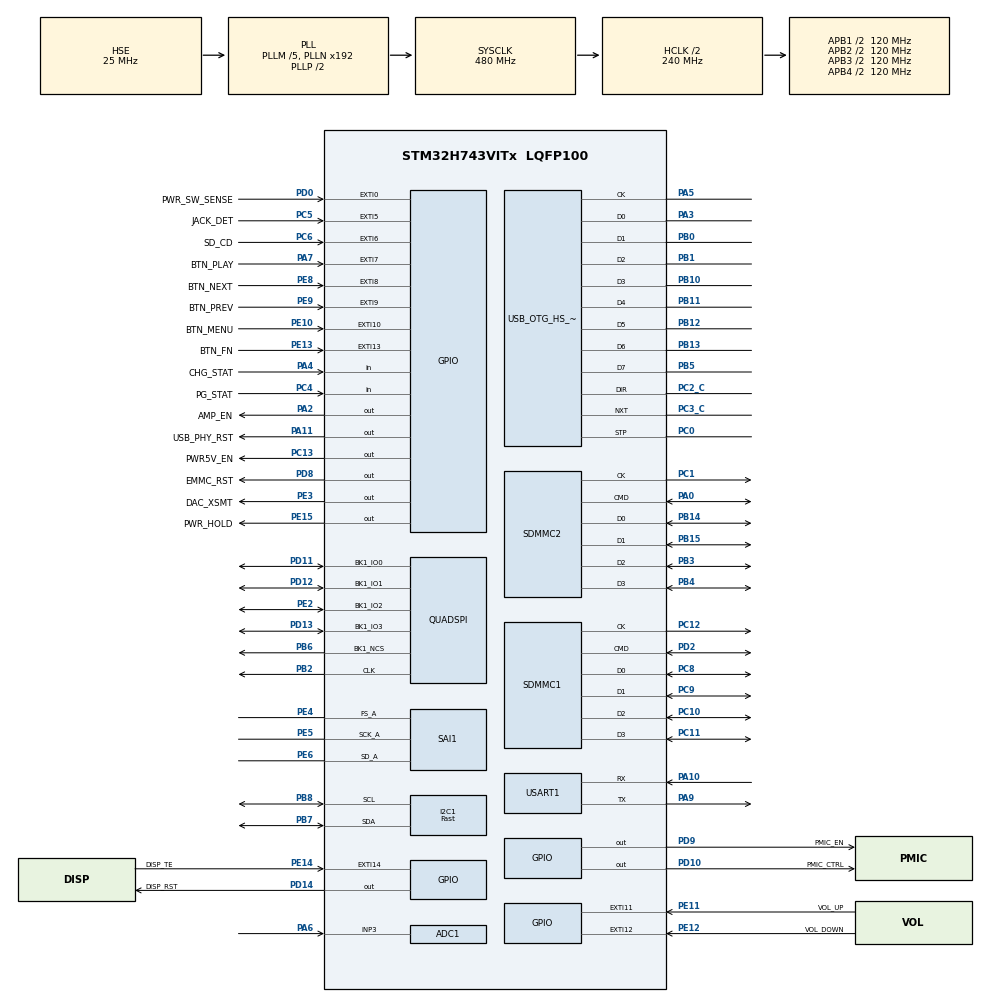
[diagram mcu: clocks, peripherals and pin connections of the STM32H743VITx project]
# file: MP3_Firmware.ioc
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ADC1.Channel-0\#ChannelRegularConversion=ADC_CHANNEL_3
ADC1.NbrOfConversionFlag=1
ADC1.OffsetNumber-0\#ChannelRegularConversion=ADC_OFFSET_NONE
ADC1.OffsetSignedSaturation-0\#ChannelRegularConversion=DISABLE
ADC1.Rank-0\#ChannelRegularConversion=1
ADC1.SamplingTime-0\#ChannelRegularConversion=ADC_SAMPLETIME_1CYCLE_5
ADC1.master=1
CORTEX_M7.CPU_DCache=Enabled
CORTEX_M7.CPU_ICache=Enabled
CORTEX_M7.default_mode_Activation=1
Dma.Request0=SAI1_A
Dma.SAI1_A.0.Direction=DMA_MEMORY_TO_PERIPH
Dma.SAI1_A.0.EventEnable=DISABLE
Dma.SAI1_A.0.FIFOMode=DMA_FIFOMODE_DISABLE
Dma.SAI1_A.0.Instance=DMA1_Stream1
Dma.SAI1_A.0.MemDataAlignment=DMA_MDATAALIGN_WORD
Dma.SAI1_A.0.MemInc=DMA_MINC_ENABLE
Dma.SAI1_A.0.Mode=DMA_CIRCULAR
Dma.SAI1_A.0.PeriphDataAlignment=DMA_PDATAALIGN_WORD
Dma.SAI1_A.0.PeriphInc=DMA_PINC_DISABLE
Dma.SAI1_A.0.Polarity=HAL_DMAMUX_REQ_GEN_RISING
Dma.SAI1_A.0.Priority=DMA_PRIORITY_HIGH
Dma.SAI1_A.0.RequestNumber=1
Dma.SAI1_A.0.SignalID=NONE
Dma.SAI1_A.0.SyncEnable=DISABLE
Dma.SAI1_A.0.SyncPolarity=HAL_DMAMUX_SYNC_NO_EVENT
Dma.SAI1_A.0.SyncRequestNumber=1
Dma.SAI1_A.0.SyncSignalID=NONE
FREERTOS.Tasks01=defaultTask,24,128,StartDefaultTask,Default,NULL,Dynamic,NULL,NULL
FREERTOS.configTOTAL_HEAP_SIZE=65536
I2C1.I2C_Speed_Mode=I2C_Fast
I2C1.Timing=0x302027FF
Mcu.Family=STM32H7
Mcu.Name=STM32H743VITx
Mcu.Package=LQFP100
NVIC.DMA1_Stream1_IRQn=true\:5\:0\:false\:false\:true\:true\:false\:true\:true
NVIC.EXTI0_IRQn=true\:5\:0\:false\:false\:true\:true\:true\:true\:true
NVIC.EXTI15_10_IRQn=true\:5\:0\:false\:false\:true\:true\:true\:true\:true
NVIC.EXTI9_5_IRQn=true\:5\:0\:false\:false\:true\:true\:true\:true\:true
NVIC.OTG_HS_IRQn=true\:5\:0\:false\:false\:true\:true\:true\:true\:true
NVIC.PriorityGroup=NVIC_PRIORITYGROUP_4
NVIC.SDMMC1_IRQn=true\:5\:0\:false\:false\:true\:true\:true\:true\:true
NVIC.SDMMC2_IRQn=true\:5\:0\:false\:false\:true\:true\:true\:true\:true
NVIC.TIM6_DAC_IRQn=true\:15\:0\:false\:false\:true\:false\:false\:true\:true
NVIC.TimeBase=TIM6_DAC_IRQn
NVIC.TimeBaseIP=TIM6
PA0.Mode=mmc_4_bits_Wide_bus
PA0.Signal=SDMMC2_CMD
PA10.Mode=Asynchronous
PA10.Signal=USART1_RX
PA11.GPIO_Label=USB_PHY_RST
PA11.Signal=GPIO_Output
PA13\ (JTMS/SWDIO).Mode=Serial_Wire
PA13\ (JTMS/SWDIO).Signal=DEBUG_JTMS-SWDIO
PA14\ (JTCK/SWCLK).Mode=Serial_Wire
PA14\ (JTCK/SWCLK).Signal=DEBUG_JTCK-SWCLK
PA2.GPIO_Label=AMP_EN
PA2.Signal=GPIO_Output
PA3.Mode=Device_HS
PA3.Signal=USB_OTG_HS_ULPI_D0
PA4.GPIO_Label=CHG_STAT
PA4.GPIO_PuPd=GPIO_PULLUP
PA4.Signal=GPIO_Input
PA5.Mode=Device_HS
PA5.Signal=USB_OTG_HS_ULPI_CK
PA6.Signal=ADCx_INP3
PA7.GPIO_Label=BTN_PLAY
PA7.GPIO_ModeDefaultEXTI=GPIO_MODE_IT_FALLING
PA7.GPIO_PuPd=GPIO_PULLUP
PA7.Signal=GPXTI7
PA9.Mode=Asynchronous
PA9.Signal=USART1_TX
PB0.Mode=Device_HS
PB0.Signal=USB_OTG_HS_ULPI_D1
PB1.Mode=Device_HS
PB1.Signal=USB_OTG_HS_ULPI_D2
PB10.Mode=Device_HS
PB10.Signal=USB_OTG_HS_ULPI_D3
PB11.Mode=Device_HS
PB11.Signal=USB_OTG_HS_ULPI_D4
PB12.Mode=Device_HS
PB12.Signal=USB_OTG_HS_ULPI_D5
PB13.Mode=Device_HS
PB13.Signal=USB_OTG_HS_ULPI_D6
PB14.Mode=mmc_4_bits_Wide_bus
PB14.Signal=SDMMC2_D0
PB15.Mode=mmc_4_bits_Wide_bus
PB15.Signal=SDMMC2_D1
PB2.Mode=Single Bank 1
PB2.Signal=QUADSPI_CLK
PB3\ (JTDO/TRACESWO).Mode=mmc_4_bits_Wide_bus
PB3\ (JTDO/TRACESWO).Signal=SDMMC2_D2
PB4\ (NJTRST).Mode=mmc_4_bits_Wide_bus
PB4\ (NJTRST).Signal=SDMMC2_D3
PB5.Mode=Device_HS
PB5.Signal=USB_OTG_HS_ULPI_D7
PB6.Mode=Single Bank 1
PB6.Signal=QUADSPI_BK1_NCS
PB7.Mode=I2C
PB7.Signal=I2C1_SDA
PB8.Mode=I2C
PB8.Signal=I2C1_SCL
PC0.Mode=Device_HS
PC0.Signal=USB_OTG_HS_ULPI_STP
PC1.Mode=mmc_4_bits_Wide_bus
PC1.Signal=SDMMC2_CK
PC10.Mode=SD_4_bits_Wide_bus
PC10.Signal=SDMMC1_D2
PC11.Mode=SD_4_bits_Wide_bus
PC11.Signal=SDMMC1_D3
PC12.Mode=SD_4_bits_Wide_bus
PC12.Signal=SDMMC1_CK
PC13.GPIO_Label=PWR5V_EN
PC13.Signal=GPIO_Output
PC14-OSC32_IN\ (OSC32_IN).Mode=LSE-External-Oscillator
PC14-OSC32_IN\ (OSC32_IN).Signal=RCC_OSC32_IN
PC15-OSC32_OUT\ (OSC32_OUT).Mode=LSE-External-Oscillator
PC15-OSC32_OUT\ (OSC32_OUT).Signal=RCC_OSC32_OUT
PC2_C.Mode=Device_HS
PC2_C.Signal=USB_OTG_HS_ULPI_DIR
PC3_C.Mode=Device_HS
PC3_C.Signal=USB_OTG_HS_ULPI_NXT
PC4.GPIO_Label=PG_STAT
PC4.GPIO_PuPd=GPIO_PULLUP
PC4.Signal=GPIO_Input
PC5.GPIO_Label=JACK_DET
PC5.GPIO_ModeDefaultEXTI=GPIO_MODE_IT_RISING_FALLING
PC5.GPIO_PuPd=GPIO_PULLUP
PC5.Signal=GPXTI5
PC6.GPIO_Label=SD_CD
PC6.GPIO_ModeDefaultEXTI=GPIO_MODE_IT_RISING_FALLING
PC6.GPIO_PuPd=GPIO_PULLUP
PC6.Signal=GPXTI6
PC8.Mode=SD_4_bits_Wide_bus
PC8.Signal=SDMMC1_D0
PC9.Mode=SD_4_bits_Wide_bus
PC9.Signal=SDMMC1_D1
PD0.GPIO_Label=PWR_SW_SENSE
PD0.GPIO_ModeDefaultEXTI=GPIO_MODE_IT_RISING_FALLING
PD0.Signal=GPXTI0
PD10.GPIO_Label=PMIC_CTRL
PD10.Signal=GPIO_Output
PD11.Mode=Single Bank 1
PD11.Signal=QUADSPI_BK1_IO0
PD12.Mode=Single Bank 1
PD12.Signal=QUADSPI_BK1_IO1
PD13.Mode=Single Bank 1
PD13.Signal=QUADSPI_BK1_IO3
PD14.GPIO_Label=DISP_RST
PD14.Signal=GPIO_Output
PD2.Mode=SD_4_bits_Wide_bus
PD2.Signal=SDMMC1_CMD
PD8.GPIO_Label=EMMC_RST
PD8.Signal=GPIO_Output
PD9.GPIO_Label=PMIC_EN
PD9.Signal=GPIO_Output
PE10.GPIO_Label=BTN_MENU
PE10.GPIO_ModeDefaultEXTI=GPIO_MODE_IT_FALLING
PE10.GPIO_PuPd=GPIO_PULLUP
PE10.Signal=GPXTI10
PE11.GPIO_Label=VOL_UP
PE11.GPIO_ModeDefaultEXTI=GPIO_MODE_IT_FALLING
PE11.GPIO_PuPd=GPIO_PULLUP
PE11.Signal=GPXTI11
PE12.GPIO_Label=VOL_DOWN
PE12.GPIO_ModeDefaultEXTI=GPIO_MODE_IT_FALLING
PE12.GPIO_PuPd=GPIO_PULLUP
PE12.Signal=GPXTI12
PE13.GPIO_Label=BTN_FN
PE13.GPIO_ModeDefaultEXTI=GPIO_MODE_IT_FALLING
PE13.GPIO_PuPd=GPIO_PULLUP
PE13.Signal=GPXTI13
PE14.GPIO_Label=DISP_TE
PE14.GPIO_ModeDefaultEXTI=GPIO_MODE_IT_RISING
PE14.GPIO_PuPd=GPIO_NOPULL
PE14.Signal=GPXTI14
PE15.GPIO_Label=PWR_HOLD
PE15.PinState=GPIO_PIN_SET
PE15.Signal=GPIO_Output
PE2.Mode=Single Bank 1
PE2.Signal=QUADSPI_BK1_IO2
PE3.GPIO_Label=DAC_XSMT
PE3.Signal=GPIO_Output
PE4.Mode=SAI_A_Master
PE4.Signal=SAI1_FS_A
PE5.Mode=SAI_A_Master
PE5.Signal=SAI1_SCK_A
PE6.Mode=SAI_A_Master
PE6.Signal=SAI1_SD_A
PE8.GPIO_Label=BTN_NEXT
PE8.GPIO_ModeDefaultEXTI=GPIO_MODE_IT_FALLING
PE8.GPIO_PuPd=GPIO_PULLUP
PE8.Signal=GPXTI8
PE9.GPIO_Label=BTN_PREV
PE9.GPIO_ModeDefaultEXTI=GPIO_MODE_IT_FALLING
PE9.GPIO_PuPd=GPIO_PULLUP
PE9.Signal=GPXTI9
PH0-OSC_IN\ (PH0).Mode=HSE-External-Oscillator
PH0-OSC_IN\ (PH0).Signal=RCC_OSC_IN
PH1-OSC_OUT\ (PH1).Mode=HSE-External-Oscillator
PH1-OSC_OUT\ (PH1).Signal=RCC_OSC_OUT
ProjectManager.HeapSize=0x200
ProjectManager.StackSize=0x400
ProjectManager.TargetToolchain=CMake
RCC.ADCFreq_Value=11289600.372314453
RCC.APB1Freq_Value=120000000
RCC.APB2Freq_Value=120000000
RCC.APB3Freq_Value=120000000
RCC.APB4Freq_Value=120000000
RCC.CortexFreq_Value=480000000
RCC.D1PPRE=RCC_APB3_DIV2
RCC.D2PPRE1=RCC_APB1_DIV2
RCC.D2PPRE2=RCC_APB2_DIV2
RCC.D3PPRE=RCC_APB4_DIV2
RCC.DIVM1=5
RCC.DIVM2=25
RCC.DIVM3=25
RCC.DIVN1=192
RCC.DIVN2=361
RCC.DIVN3=393
RCC.DIVP2=32
RCC.DIVP3=32
RCC.DIVQ1=10
RCC.HCLKFreq_Value=240000000
RCC.HPRE=RCC_HCLK_DIV2
RCC.PLL2FRACN=2189
RCC.PLL3FRACN=1769
RCC.PLLFRACN=0
RCC.PLLSourceVirtual=RCC_PLLSOURCE_HSE
RCC.RTCClockSelection=RCC_RTCCLKSOURCE_LSE
RCC.SAI1CLockSelection=RCC_SAI1CLKSOURCE_PLL2
RCC.SYSCLKFreq_VALUE=480000000
RCC.SYSCLKSource=RCC_SYSCLKSOURCE_PLLCLK
RCC.USBCLockSelection=RCC_USBCLKSOURCE_HSI48
RCC.USBFreq_Value=48000000
SAI1.AudioFrequency-SAI_A_Master=SAI_AUDIO_FREQUENCY_44K
SAI1.BasicDataSize-SAI_A_Master=SAI_PROTOCOL_DATASIZE_32BIT
SAI1.ErrorAudioFreq-SAI_A_Master=0.0 %
SAI1.InitProtocol-SAI_A_Master=Enable
SAI1.Instance-SAI_A_Master=SAI$Index_Block_A
SAI1.MClockEnable=SAI_MASTERCLOCK_DISABLE
SAI1.RealAudioFreq-SAI_A_Master=44.1 KHz
SAI1.VirtualMode-SAI_A_Master=VM_MASTER
SAI1.VirtualProtocol-SAI_A_BASIC=VM_BASIC_PROTOCOL
SDMMC1.ClockDiv=1
SDMMC2.ClockDiv=1
SH.ADCx_INP3.0=ADC1_INP3,IN3-Single-Ended
USART1.VirtualMode-Asynchronous=VM_ASYNC
USB_OTG_HS.VirtualMode-Device_HS=Device_HS
VP_FREERTOS_VS_CMSIS_V2.Mode=CMSIS_V2
VP_MEMORYMAP_VS_MEMORYMAP.Mode=CurAppReg
VP_RTC_VS_RTC_Activate.Mode=RTC_Enabled
VP_RTC_VS_RTC_Calendar.Mode=RTC_Calendar
VP_SAI1_VP_$IpInstance_SAIA_SAI_BASIC.Mode=SAI_A_BASIC
VP_SYS_VS_tim6.Mode=TIM6
board=custom

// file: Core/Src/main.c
/* USER CODE BEGIN Header */
/**
  ******************************************************************************
  * @file           : main.c
  * @brief          : Main program body
  ******************************************************************************
  * @attention
  *
  * Copyright (c) 2026 STMicroelectronics.
  * All rights reserved.
  *
  * This software is licensed under terms that can be found in the LICENSE file
  * in the root directory of this software component.
  * If no LICENSE file comes with this software, it is provided AS-IS.
  *
  ******************************************************************************
  */
/* USER CODE END Header */
#include "main.h"
#include "FreeRTOS.h"
#include "cmsis_os2.h"

ADC_HandleTypeDef hadc1;

I2C_HandleTypeDef hi2c1;

QSPI_HandleTypeDef hqspi;

RTC_HandleTypeDef hrtc;

SAI_HandleTypeDef hsai_BlockA1;
DMA_HandleTypeDef hdma_sai1_a;

SD_HandleTypeDef hsd1;
MMC_HandleTypeDef hmmc2;

UART_HandleTypeDef huart1;

PCD_HandleTypeDef hpcd_USB_OTG_HS;

/* Definitions for defaultTask */
osThreadId_t defaultTaskHandle;
const osThreadAttr_t defaultTask_attributes = {
  .name = "defaultTask",
  .stack_size = 128 * 4,
  .priority = (osPriority_t) osPriorityNormal,
};

void SystemClock_Config(void);
void PeriphCommonClock_Config(void);
static void MPU_Config(void);
static void MX_GPIO_Init(void);
static void MX_DMA_Init(void);
static void MX_ADC1_Init(void);
static void MX_I2C1_Init(void);
static void MX_QUADSPI_Init(void);
static void MX_RTC_Init(void);
static void MX_SAI1_Init(void);
static void MX_SDMMC1_SD_Init(void);
static void MX_SDMMC2_MMC_Init(void);
static void MX_USB_OTG_HS_PCD_Init(void);
static void MX_USART1_UART_Init(void);
void StartDefaultTask(void *argument);

int main(void)
{

  /* USER CODE BEGIN 1 */
  /* Power latch first (firmware-spec section 11): PWR_HOLD (PE15) high
   * before anything else so a short power-button press survives boot.
   * Raw registers - HAL is not initialized yet. MX_GPIO_Init re-inits the
   * pin later and writes it high again before touching the mode. */
  RCC->AHB4ENR |= RCC_AHB4ENR_GPIOEEN;
  (void)RCC->AHB4ENR;
  GPIOE->BSRR = GPIO_PIN_15;
  MODIFY_REG(GPIOE->MODER, GPIO_MODER_MODE15, GPIO_MODER_MODE15_0);

  /* D2 SRAM1+SRAM2 non-cacheable (firmware-spec section 6): all DMA
   * buffers (.d2_bss - SAI DMA halves, PCM ring, SDMMC) live here, so DMA
   * and the CPU agree without per-transfer cache maintenance. Region 1;
   * the generated MPU_Config() below adds region 0 and enables the MPU
   * before the caches come up. D2 SRAM3 (0x30040000, 32 KB) stays
   * cacheable and is NOT covered - keep .d2_bss under 256 KB. */
  {
    MPU_Region_InitTypeDef r = {0};
    r.Enable = MPU_REGION_ENABLE;
    r.Number = MPU_REGION_NUMBER1;
    r.BaseAddress = 0x30000000;
    r.Size = MPU_REGION_SIZE_256KB;
    r.SubRegionDisable = 0x00;
    r.TypeExtField = MPU_TEX_LEVEL1;          /* normal, non-cacheable */
    r.AccessPermission = MPU_REGION_FULL_ACCESS;
    r.DisableExec = MPU_INSTRUCTION_ACCESS_DISABLE;
    r.IsShareable = MPU_ACCESS_NOT_SHAREABLE;
    r.IsCacheable = MPU_ACCESS_NOT_CACHEABLE;
    r.IsBufferable = MPU_ACCESS_NOT_BUFFERABLE;
    HAL_MPU_ConfigRegion(&r);
  }
  /* USER CODE END 1 */

  /* MPU Configuration--------------------------------------------------------*/
  MPU_Config();

  /* Enable the CPU Cache */

  /* Enable I-Cache---------------------------------------------------------*/
  SCB_EnableICache();

  /* Enable D-Cache---------------------------------------------------------*/
  SCB_EnableDCache();

  /* MCU Configuration--------------------------------------------------------*/

  /* Reset of all peripherals, Initializes the Flash interface and the Systick. */
  HAL_Init();

  /* Configure the system clock */
  SystemClock_Config();

  /* Configure the peripherals common clocks */
  PeriphCommonClock_Config();

  /* Initialize all configured peripherals */
  MX_GPIO_Init();
  MX_DMA_Init();
  MX_ADC1_Init();
  MX_I2C1_Init();
  MX_QUADSPI_Init();
  MX_RTC_Init();
  MX_SAI1_Init();
  MX_SDMMC1_SD_Init();
  MX_SDMMC2_MMC_Init();
  MX_USB_OTG_HS_PCD_Init();
  MX_USART1_UART_Init();

  /* Init scheduler */
  osKernelInitialize();

  /* Create the thread(s) */
  /* creation of defaultTask */
  defaultTaskHandle = osThreadNew(StartDefaultTask, NULL, &defaultTask_attributes);

  /* USER CODE BEGIN RTOS_THREADS */
  {
    /* Real app startup (App/hal/pact_boot.c): audio/ui/storage tasks. */
    extern void pact_boot_create_tasks(void);
    pact_boot_create_tasks();
  }
  /* USER CODE END RTOS_THREADS */

  /* Start scheduler */
  osKernelStart();

  /* We should never get here as control is now taken by the scheduler */

  /* Infinite loop */
  while (1)
  {

  }
}

void SystemClock_Config(void)
{
  RCC_OscInitTypeDef RCC_OscInitStruct = {0};
  RCC_ClkInitTypeDef RCC_ClkInitStruct = {0};

  /** Supply configuration update enable
  */
  HAL_PWREx_ConfigSupply(PWR_LDO_SUPPLY);

  /** Configure the main internal regulator output voltage
  */
  __HAL_PWR_VOLTAGESCALING_CONFIG(PWR_REGULATOR_VOLTAGE_SCALE0);

  while(!__HAL_PWR_GET_FLAG(PWR_FLAG_VOSRDY)) {}

  /** Configure LSE Drive Capability
  */
  HAL_PWR_EnableBkUpAccess();
  __HAL_RCC_LSEDRIVE_CONFIG(RCC_LSEDRIVE_LOW);

  /** Initializes the RCC Oscillators according to the specified parameters
  * in the RCC_OscInitTypeDef structure.
  */
  RCC_OscInitStruct.OscillatorType = RCC_OSCILLATORTYPE_HSI48|RCC_OSCILLATORTYPE_HSE
                              |RCC_OSCILLATORTYPE_LSE;
  RCC_OscInitStruct.HSEState = RCC_HSE_ON;
  RCC_OscInitStruct.LSEState = RCC_LSE_ON;
  RCC_OscInitStruct.HSI48State = RCC_HSI48_ON;
  RCC_OscInitStruct.PLL.PLLState = RCC_PLL_ON;
  RCC_OscInitStruct.PLL.PLLSource = RCC_PLLSOURCE_HSE;
  RCC_OscInitStruct.PLL.PLLM = 5;
  RCC_OscInitStruct.PLL.PLLN = 192;
  RCC_OscInitStruct.PLL.PLLP = 2;
  RCC_OscInitStruct.PLL.PLLQ = 10;
  RCC_OscInitStruct.PLL.PLLR = 2;
  RCC_OscInitStruct.PLL.PLLRGE = RCC_PLL1VCIRANGE_2;
  RCC_OscInitStruct.PLL.PLLVCOSEL = RCC_PLL1VCOWIDE;
  RCC_OscInitStruct.PLL.PLLFRACN = 0;
  if (HAL_RCC_OscConfig(&RCC_OscInitStruct) != HAL_OK)
  {
    Error_Handler();
  }

  /** Initializes the CPU, AHB and APB buses clocks
  */
  RCC_ClkInitStruct.ClockType = RCC_CLOCKTYPE_HCLK|RCC_CLOCKTYPE_SYSCLK
                              |RCC_CLOCKTYPE_PCLK1|RCC_CLOCKTYPE_PCLK2
                              |RCC_CLOCKTYPE_D3PCLK1|RCC_CLOCKTYPE_D1PCLK1;
  RCC_ClkInitStruct.SYSCLKSource = RCC_SYSCLKSOURCE_PLLCLK;
  RCC_ClkInitStruct.SYSCLKDivider = RCC_SYSCLK_DIV1;
  RCC_ClkInitStruct.AHBCLKDivider = RCC_HCLK_DIV2;
  RCC_ClkInitStruct.APB3CLKDivider = RCC_APB3_DIV2;
  RCC_ClkInitStruct.APB1CLKDivider = RCC_APB1_DIV2;
  RCC_ClkInitStruct.APB2CLKDivider = RCC_APB2_DIV2;
  RCC_ClkInitStruct.APB4CLKDivider = RCC_APB4_DIV2;

  if (HAL_RCC_ClockConfig(&RCC_ClkInitStruct, FLASH_LATENCY_4) != HAL_OK)
  {
    Error_Handler();
  }
}

void PeriphCommonClock_Config(void)
{
  RCC_PeriphCLKInitTypeDef PeriphClkInitStruct = {0};

  /** Initializes the peripherals clock
  */
  PeriphClkInitStruct.PeriphClockSelection = RCC_PERIPHCLK_ADC|RCC_PERIPHCLK_SAI1;
  PeriphClkInitStruct.PLL2.PLL2M = 25;
  PeriphClkInitStruct.PLL2.PLL2N = 361;
  PeriphClkInitStruct.PLL2.PLL2P = 32;
  PeriphClkInitStruct.PLL2.PLL2Q = 2;
  PeriphClkInitStruct.PLL2.PLL2R = 2;
  PeriphClkInitStruct.PLL2.PLL2RGE = RCC_PLL2VCIRANGE_0;
  PeriphClkInitStruct.PLL2.PLL2VCOSEL = RCC_PLL2VCOWIDE;
  PeriphClkInitStruct.PLL2.PLL2FRACN = 2189;
  PeriphClkInitStruct.Sai1ClockSelection = RCC_SAI1CLKSOURCE_PLL2;
  PeriphClkInitStruct.AdcClockSelection = RCC_ADCCLKSOURCE_PLL2;
  if (HAL_RCCEx_PeriphCLKConfig(&PeriphClkInitStruct) != HAL_OK)
  {
    Error_Handler();
  }
}

static void MX_ADC1_Init(void)
{

  ADC_MultiModeTypeDef multimode = {0};
  ADC_ChannelConfTypeDef sConfig = {0};

  /** Common config
  */
  hadc1.Instance = ADC1;
  hadc1.Init.ClockPrescaler = ADC_CLOCK_ASYNC_DIV1;
  hadc1.Init.Resolution = ADC_RESOLUTION_16B;
  hadc1.Init.ScanConvMode = ADC_SCAN_DISABLE;
  hadc1.Init.EOCSelection = ADC_EOC_SINGLE_CONV;
  hadc1.Init.LowPowerAutoWait = DISABLE;
  hadc1.Init.ContinuousConvMode = DISABLE;
  hadc1.Init.NbrOfConversion = 1;
  hadc1.Init.DiscontinuousConvMode = DISABLE;
  hadc1.Init.ExternalTrigConv = ADC_SOFTWARE_START;
  hadc1.Init.ExternalTrigConvEdge = ADC_EXTERNALTRIGCONVEDGE_NONE;
  hadc1.Init.ConversionDataManagement = ADC_CONVERSIONDATA_DR;
  hadc1.Init.Overrun = ADC_OVR_DATA_PRESERVED;
  hadc1.Init.LeftBitShift = ADC_LEFTBITSHIFT_NONE;
  hadc1.Init.OversamplingMode = DISABLE;
  hadc1.Init.Oversampling.Ratio = 1;
  if (HAL_ADC_Init(&hadc1) != HAL_OK)
  {
    Error_Handler();
  }

  /** Configure the ADC multi-mode
  */
  multimode.Mode = ADC_MODE_INDEPENDENT;
  if (HAL_ADCEx_MultiModeConfigChannel(&hadc1, &multimode) != HAL_OK)
  {
    Error_Handler();
  }

  /** Configure Regular Channel
  */
  sConfig.Channel = ADC_CHANNEL_3;
  sConfig.Rank = ADC_REGULAR_RANK_1;
  sConfig.SamplingTime = ADC_SAMPLETIME_1CYCLE_5;
  sConfig.SingleDiff = ADC_SINGLE_ENDED;
  sConfig.OffsetNumber = ADC_OFFSET_NONE;
  sConfig.Offset = 0;
  sConfig.OffsetSignedSaturation = DISABLE;
  if (HAL_ADC_ConfigChannel(&hadc1, &sConfig) != HAL_OK)
  {
    Error_Handler();
  }

}

static void MX_I2C1_Init(void)
{

  hi2c1.Instance = I2C1;
  hi2c1.Init.Timing = 0x302027FF;
  hi2c1.Init.OwnAddress1 = 0;
  hi2c1.Init.AddressingMode = I2C_ADDRESSINGMODE_7BIT;
  hi2c1.Init.DualAddressMode = I2C_DUALADDRESS_DISABLE;
  hi2c1.Init.OwnAddress2 = 0;
  hi2c1.Init.OwnAddress2Masks = I2C_OA2_NOMASK;
  hi2c1.Init.GeneralCallMode = I2C_GENERALCALL_DISABLE;
  hi2c1.Init.NoStretchMode = I2C_NOSTRETCH_DISABLE;
  if (HAL_I2C_Init(&hi2c1) != HAL_OK)
  {
    Error_Handler();
  }

  /** Configure Analogue filter
  */
  if (HAL_I2CEx_ConfigAnalogFilter(&hi2c1, I2C_ANALOGFILTER_ENABLE) != HAL_OK)
  {
    Error_Handler();
  }

  /** Configure Digital filter
  */
  if (HAL_I2CEx_ConfigDigitalFilter(&hi2c1, 0) != HAL_OK)
  {
    Error_Handler();
  }

}

static void MX_QUADSPI_Init(void)
{

  /* QUADSPI parameter configuration*/
  hqspi.Instance = QUADSPI;
  hqspi.Init.ClockPrescaler = 255;
  hqspi.Init.FifoThreshold = 1;
  hqspi.Init.SampleShifting = QSPI_SAMPLE_SHIFTING_NONE;
  hqspi.Init.FlashSize = 1;
  hqspi.Init.ChipSelectHighTime = QSPI_CS_HIGH_TIME_1_CYCLE;
  hqspi.Init.ClockMode = QSPI_CLOCK_MODE_0;
  hqspi.Init.FlashID = QSPI_FLASH_ID_1;
  hqspi.Init.DualFlash = QSPI_DUALFLASH_DISABLE;
  if (HAL_QSPI_Init(&hqspi) != HAL_OK)
  {
    Error_Handler();
  }

}

static void MX_RTC_Init(void)
{

  RTC_TimeTypeDef sTime = {0};
  RTC_DateTypeDef sDate = {0};

  /** Initialize RTC Only
  */
  hrtc.Instance = RTC;
  hrtc.Init.HourFormat = RTC_HOURFORMAT_24;
  hrtc.Init.AsynchPrediv = 127;
  hrtc.Init.SynchPrediv = 255;
  hrtc.Init.OutPut = RTC_OUTPUT_DISABLE;
  hrtc.Init.OutPutPolarity = RTC_OUTPUT_POLARITY_HIGH;
  hrtc.Init.OutPutType = RTC_OUTPUT_TYPE_OPENDRAIN;
  hrtc.Init.OutPutRemap = RTC_OUTPUT_REMAP_NONE;
  if (HAL_RTC_Init(&hrtc) != HAL_OK)
  {
    Error_Handler();
  }

  /** Initialize RTC and set the Time and Date
  */
  sTime.Hours = 0x0;
  sTime.Minutes = 0x0;
  sTime.Seconds = 0x0;
  sTime.DayLightSaving = RTC_DAYLIGHTSAVING_NONE;
  sTime.StoreOperation = RTC_STOREOPERATION_RESET;
  if (HAL_RTC_SetTime(&hrtc, &sTime, RTC_FORMAT_BCD) != HAL_OK)
  {
    Error_Handler();
  }
  sDate.WeekDay = RTC_WEEKDAY_MONDAY;
  sDate.Month = RTC_MONTH_JANUARY;
  sDate.Date = 0x1;
  sDate.Year = 0x0;

  if (HAL_RTC_SetDate(&hrtc, &sDate, RTC_FORMAT_BCD) != HAL_OK)
  {
    Error_Handler();
  }

}

static void MX_SAI1_Init(void)
{

  hsai_BlockA1.Instance = SAI1_Block_A;
  hsai_BlockA1.Init.AudioMode = SAI_MODEMASTER_TX;
  hsai_BlockA1.Init.Synchro = SAI_ASYNCHRONOUS;
  hsai_BlockA1.Init.OutputDrive = SAI_OUTPUTDRIVE_DISABLE;
  hsai_BlockA1.Init.NoDivider = SAI_MCK_OVERSAMPLING_DISABLE;
  hsai_BlockA1.Init.MckOverSampling = SAI_MCK_OVERSAMPLING_DISABLE;
  hsai_BlockA1.Init.FIFOThreshold = SAI_FIFOTHRESHOLD_EMPTY;
  hsai_BlockA1.Init.AudioFrequency = SAI_AUDIO_FREQUENCY_44K;
  hsai_BlockA1.Init.SynchroExt = SAI_SYNCEXT_DISABLE;
  hsai_BlockA1.Init.MonoStereoMode = SAI_STEREOMODE;
  hsai_BlockA1.Init.CompandingMode = SAI_NOCOMPANDING;
  hsai_BlockA1.Init.TriState = SAI_OUTPUT_NOTRELEASED;
  if (HAL_SAI_InitProtocol(&hsai_BlockA1, SAI_I2S_STANDARD, SAI_PROTOCOL_DATASIZE_32BIT, 2) != HAL_OK)
  {
    Error_Handler();
  }

}

static void MX_SDMMC1_SD_Init(void)
{

  hsd1.Instance = SDMMC1;
  hsd1.Init.ClockEdge = SDMMC_CLOCK_EDGE_RISING;
  hsd1.Init.ClockPowerSave = SDMMC_CLOCK_POWER_SAVE_DISABLE;
  hsd1.Init.BusWide = SDMMC_BUS_WIDE_4B;
  hsd1.Init.HardwareFlowControl = SDMMC_HARDWARE_FLOW_CONTROL_DISABLE;
  hsd1.Init.ClockDiv = 1;
  if (HAL_SD_Init(&hsd1) != HAL_OK)
  {
    Error_Handler();
  }

}

static void MX_SDMMC2_MMC_Init(void)
{

  hmmc2.Instance = SDMMC2;
  hmmc2.Init.ClockEdge = SDMMC_CLOCK_EDGE_RISING;
  hmmc2.Init.ClockPowerSave = SDMMC_CLOCK_POWER_SAVE_DISABLE;
  hmmc2.Init.BusWide = SDMMC_BUS_WIDE_4B;
  hmmc2.Init.HardwareFlowControl = SDMMC_HARDWARE_FLOW_CONTROL_DISABLE;
  hmmc2.Init.ClockDiv = 1;
  if (HAL_MMC_Init(&hmmc2) != HAL_OK)
  {
    Error_Handler();
  }

}

static void MX_USART1_UART_Init(void)
{

  huart1.Instance = USART1;
  huart1.Init.BaudRate = 115200;
  huart1.Init.WordLength = UART_WORDLENGTH_8B;
  huart1.Init.StopBits = UART_STOPBITS_1;
  huart1.Init.Parity = UART_PARITY_NONE;
  huart1.Init.Mode = UART_MODE_TX_RX;
  huart1.Init.HwFlowCtl = UART_HWCONTROL_NONE;
  huart1.Init.OverSampling = UART_OVERSAMPLING_16;
  huart1.Init.OneBitSampling = UART_ONE_BIT_SAMPLE_DISABLE;
  huart1.Init.ClockPrescaler = UART_PRESCALER_DIV1;
  huart1.AdvancedInit.AdvFeatureInit = UART_ADVFEATURE_NO_INIT;
  if (HAL_UART_Init(&huart1) != HAL_OK)
  {
    Error_Handler();
  }
  if (HAL_UARTEx_SetTxFifoThreshold(&huart1, UART_TXFIFO_THRESHOLD_1_8) != HAL_OK)
  {
    Error_Handler();
  }
  if (HAL_UARTEx_SetRxFifoThreshold(&huart1, UART_RXFIFO_THRESHOLD_1_8) != HAL_OK)
  {
    Error_Handler();
  }
  if (HAL_UARTEx_DisableFifoMode(&huart1) != HAL_OK)
  {
    Error_Handler();
  }

}

static void MX_USB_OTG_HS_PCD_Init(void)
{

  hpcd_USB_OTG_HS.Instance = USB_OTG_HS;
  hpcd_USB_OTG_HS.Init.dev_endpoints = 9;
  hpcd_USB_OTG_HS.Init.speed = PCD_SPEED_HIGH;
  hpcd_USB_OTG_HS.Init.dma_enable = DISABLE;
  hpcd_USB_OTG_HS.Init.phy_itface = USB_OTG_ULPI_PHY;
  hpcd_USB_OTG_HS.Init.Sof_enable = DISABLE;
  hpcd_USB_OTG_HS.Init.low_power_enable = DISABLE;
  hpcd_USB_OTG_HS.Init.lpm_enable = DISABLE;
  hpcd_USB_OTG_HS.Init.vbus_sensing_enable = DISABLE;
  hpcd_USB_OTG_HS.Init.use_dedicated_ep1 = DISABLE;
  hpcd_USB_OTG_HS.Init.use_external_vbus = DISABLE;
  if (HAL_PCD_Init(&hpcd_USB_OTG_HS) != HAL_OK)
  {
    Error_Handler();
  }

}

static void MX_DMA_Init(void)
{

  /* DMA controller clock enable */
  __HAL_RCC_DMA1_CLK_ENABLE();

  /* DMA interrupt init */
  /* DMA1_Stream1_IRQn interrupt configuration */
  HAL_NVIC_SetPriority(DMA1_Stream1_IRQn, 5, 0);
  HAL_NVIC_EnableIRQ(DMA1_Stream1_IRQn);

}

static void MX_GPIO_Init(void)
{
  GPIO_InitTypeDef GPIO_InitStruct = {0};

  /* GPIO Ports Clock Enable */
  __HAL_RCC_GPIOE_CLK_ENABLE();
  __HAL_RCC_GPIOC_CLK_ENABLE();
  __HAL_RCC_GPIOH_CLK_ENABLE();
  __HAL_RCC_GPIOA_CLK_ENABLE();
  __HAL_RCC_GPIOB_CLK_ENABLE();
  __HAL_RCC_GPIOD_CLK_ENABLE();

  /*Configure GPIO pin Output Level */
  HAL_GPIO_WritePin(DAC_XSMT_GPIO_Port, DAC_XSMT_Pin, GPIO_PIN_RESET);

  /*Configure GPIO pin Output Level */
  HAL_GPIO_WritePin(PWR5V_EN_GPIO_Port, PWR5V_EN_Pin, GPIO_PIN_RESET);

  /*Configure GPIO pin Output Level */
  HAL_GPIO_WritePin(GPIOA, AMP_EN_Pin|USB_PHY_RST_Pin, GPIO_PIN_RESET);

  /*Configure GPIO pin Output Level */
  HAL_GPIO_WritePin(PWR_HOLD_GPIO_Port, PWR_HOLD_Pin, GPIO_PIN_SET);

  /*Configure GPIO pin Output Level */
  HAL_GPIO_WritePin(GPIOD, EMMC_RST_Pin|PMIC_EN_Pin|PMIC_CTRL_Pin|DISP_RST_Pin, GPIO_PIN_RESET);

  /*Configure GPIO pins : DAC_XSMT_Pin PWR_HOLD_Pin */
  GPIO_InitStruct.Pin = DAC_XSMT_Pin|PWR_HOLD_Pin;
  GPIO_InitStruct.Mode = GPIO_MODE_OUTPUT_PP;
  GPIO_InitStruct.Pull = GPIO_NOPULL;
  GPIO_InitStruct.Speed = GPIO_SPEED_FREQ_LOW;
  HAL_GPIO_Init(GPIOE, &GPIO_InitStruct);

  /*Configure GPIO pin : PWR5V_EN_Pin */
  GPIO_InitStruct.Pin = PWR5V_EN_Pin;
  GPIO_InitStruct.Mode = GPIO_MODE_OUTPUT_PP;
  GPIO_InitStruct.Pull = GPIO_NOPULL;
  GPIO_InitStruct.Speed = GPIO_SPEED_FREQ_LOW;
  HAL_GPIO_Init(PWR5V_EN_GPIO_Port, &GPIO_InitStruct);

  /*Configure GPIO pins : AMP_EN_Pin USB_PHY_RST_Pin */
  GPIO_InitStruct.Pin = AMP_EN_Pin|USB_PHY_RST_Pin;
  GPIO_InitStruct.Mode = GPIO_MODE_OUTPUT_PP;
  GPIO_InitStruct.Pull = GPIO_NOPULL;
  GPIO_InitStruct.Speed = GPIO_SPEED_FREQ_LOW;
  HAL_GPIO_Init(GPIOA, &GPIO_InitStruct);

  /*Configure GPIO pin : CHG_STAT_Pin */
  GPIO_InitStruct.Pin = CHG_STAT_Pin;
  GPIO_InitStruct.Mode = GPIO_MODE_INPUT;
  GPIO_InitStruct.Pull = GPIO_PULLUP;
  HAL_GPIO_Init(CHG_STAT_GPIO_Port, &GPIO_InitStruct);

  /*Configure GPIO pin : BTN_PLAY_Pin */
  GPIO_InitStruct.Pin = BTN_PLAY_Pin;
  GPIO_InitStruct.Mode = GPIO_MODE_IT_FALLING;
  GPIO_InitStruct.Pull = GPIO_PULLUP;
  HAL_GPIO_Init(BTN_PLAY_GPIO_Port, &GPIO_InitStruct);

  /*Configure GPIO pin : PG_STAT_Pin */
  GPIO_InitStruct.Pin = PG_STAT_Pin;
  GPIO_InitStruct.Mode = GPIO_MODE_INPUT;
  GPIO_InitStruct.Pull = GPIO_PULLUP;
  HAL_GPIO_Init(PG_STAT_GPIO_Port, &GPIO_InitStruct);

  /*Configure GPIO pins : JACK_DET_Pin SD_CD_Pin */
  GPIO_InitStruct.Pin = JACK_DET_Pin|SD_CD_Pin;
  GPIO_InitStruct.Mode = GPIO_MODE_IT_RISING_FALLING;
  GPIO_InitStruct.Pull = GPIO_PULLUP;
  HAL_GPIO_Init(GPIOC, &GPIO_InitStruct);

  /*Configure GPIO pins : BTN_NEXT_Pin BTN_PREV_Pin BTN_MENU_Pin VOL_UP_Pin
                           VOL_DOWN_Pin BTN_FN_Pin */
  GPIO_InitStruct.Pin = BTN_NEXT_Pin|BTN_PREV_Pin|BTN_MENU_Pin|VOL_UP_Pin
                          |VOL_DOWN_Pin|BTN_FN_Pin;
  GPIO_InitStruct.Mode = GPIO_MODE_IT_FALLING;
  GPIO_InitStruct.Pull = GPIO_PULLUP;
  HAL_GPIO_Init(GPIOE, &GPIO_InitStruct);

  /*Configure GPIO pin : DISP_TE_Pin */
  GPIO_InitStruct.Pin = DISP_TE_Pin;
  GPIO_InitStruct.Mode = GPIO_MODE_IT_RISING;
  GPIO_InitStruct.Pull = GPIO_NOPULL;
  HAL_GPIO_Init(DISP_TE_GPIO_Port, &GPIO_InitStruct);

  /*Configure GPIO pins : EMMC_RST_Pin PMIC_EN_Pin PMIC_CTRL_Pin DISP_RST_Pin */
  GPIO_InitStruct.Pin = EMMC_RST_Pin|PMIC_EN_Pin|PMIC_CTRL_Pin|DISP_RST_Pin;
  GPIO_InitStruct.Mode = GPIO_MODE_OUTPUT_PP;
  GPIO_InitStruct.Pull = GPIO_NOPULL;
  GPIO_InitStruct.Speed = GPIO_SPEED_FREQ_LOW;
  HAL_GPIO_Init(GPIOD, &GPIO_InitStruct);

  /*Configure GPIO pin : PWR_SW_SENSE_Pin */
  GPIO_InitStruct.Pin = PWR_SW_SENSE_Pin;
  GPIO_InitStruct.Mode = GPIO_MODE_IT_RISING_FALLING;
  GPIO_InitStruct.Pull = GPIO_NOPULL;
  HAL_GPIO_Init(PWR_SW_SENSE_GPIO_Port, &GPIO_InitStruct);

  /* EXTI interrupt init*/
  HAL_NVIC_SetPriority(PWR_SW_SENSE_EXTI_IRQn, 5, 0);
  HAL_NVIC_EnableIRQ(PWR_SW_SENSE_EXTI_IRQn);

  HAL_NVIC_SetPriority(JACK_DET_EXTI_IRQn, 5, 0);
  HAL_NVIC_EnableIRQ(JACK_DET_EXTI_IRQn);

  HAL_NVIC_SetPriority(BTN_MENU_EXTI_IRQn, 5, 0);
  HAL_NVIC_EnableIRQ(BTN_MENU_EXTI_IRQn);

}

void StartDefaultTask(void *argument)
{
  /* USER CODE BEGIN 5 */
  /* App tasks are created in pact_boot_create_tasks(); nothing lives here. */
  osThreadExit();
  /* Infinite loop */
  for(;;)
  {
    osDelay(1);
  }
  /* USER CODE END 5 */
}

 /* MPU Configuration */

void MPU_Config(void)
{
  MPU_Region_InitTypeDef MPU_InitStruct = {0};

  /* Disables the MPU */
  HAL_MPU_Disable();

  /** Initializes and configures the Region and the memory to be protected
  */
  MPU_InitStruct.Enable = MPU_REGION_ENABLE;
  MPU_InitStruct.Number = MPU_REGION_NUMBER0;
  MPU_InitStruct.BaseAddress = 0x0;
  MPU_InitStruct.Size = MPU_REGION_SIZE_4GB;
  MPU_InitStruct.SubRegionDisable = 0x87;
  MPU_InitStruct.TypeExtField = MPU_TEX_LEVEL0;
  MPU_InitStruct.AccessPermission = MPU_REGION_NO_ACCESS;
  MPU_InitStruct.DisableExec = MPU_INSTRUCTION_ACCESS_DISABLE;
  MPU_InitStruct.IsShareable = MPU_ACCESS_SHAREABLE;
  MPU_InitStruct.IsCacheable = MPU_ACCESS_NOT_CACHEABLE;
  MPU_InitStruct.IsBufferable = MPU_ACCESS_NOT_BUFFERABLE;

  HAL_MPU_ConfigRegion(&MPU_InitStruct);
  /* Enables the MPU */
  HAL_MPU_Enable(MPU_PRIVILEGED_DEFAULT);

}

void HAL_TIM_PeriodElapsedCallback(TIM_HandleTypeDef *htim)
{
  if (htim->Instance == TIM6)
  {
    HAL_IncTick();
  }
}

void Error_Handler(void)
{
  __disable_irq();
  while (1)
  {
  }
}
